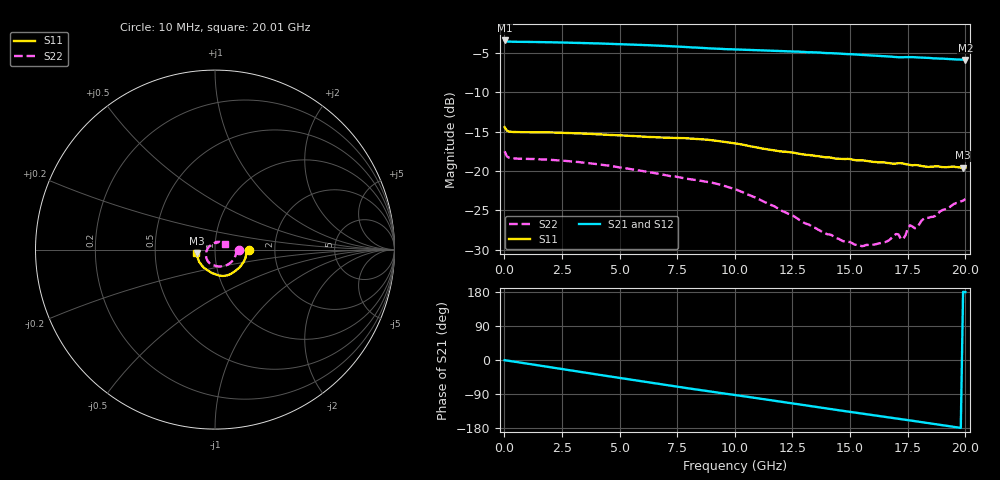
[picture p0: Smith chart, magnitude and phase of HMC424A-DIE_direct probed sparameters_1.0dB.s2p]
!s2p File: Measurements: S11, S21, S12, S22
# GHz S dB R 50.0
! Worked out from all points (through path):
!   201 points, 10 MHz to 20.01 GHz, reference 50 ohm
!   highest |S21| = -3.39 dB at 10 MHz (marker M1); lowest = -5.9 dB at 20.01 GHz (marker M2)
!   group delay of S21, straight-line fit = 24.9 ps
!   lowest |S11| = -19.6 dB at 19.91 GHz (marker M3), VSWR 1.23, Z = 40.7 - j1.65 ohm
!   |S11| at or under -10 dB: start of sweep to end of sweep
!   |S22| runs from -29.6 to -17.5 dB; largest |S21 - S12| = 0.0037
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0.01  -14.43 -1.4  -3.39 -0.4  -3.38 -0.4  -17.49 -1.9
0.11  -14.87 -2.4  -3.51 -1.5  -3.50 -1.5  -18.15 -3.8
0.31  -15.02 -3.1  -3.55 -3.2  -3.54 -3.2  -18.37 -5.0
1.81  -15.09 -13.0  -3.61 -17.4  -3.61 -17.4  -18.54 -21.6
3.41  -15.24 -24.4  -3.72 -32.5  -3.71 -32.5  -18.93 -40.4
5.01  -15.45 -36.0  -3.85 -47.4  -3.86 -47.4  -19.55 -58.9
6.71  -15.73 -48.2  -4.05 -63.2  -4.06 -63.2  -20.37 -77.9
8.31  -15.93 -61.0  -4.29 -77.7  -4.30 -77.7  -21.16 -96.4
10.01  -16.49 -77.2  -4.53 -92.4  -4.54 -92.4  -22.31 -120.9
11.61  -17.33 -90.7  -4.69 -106.5  -4.69 -106.5  -24.37 -146.7
13.41  -18.03 -105.6  -4.90 -122.7  -4.92 -122.6  -27.19 179.9
14.71  -18.47 -117.2  -5.11 -134.3  -5.10 -134.1  -28.94 148.8
15.51  -18.64 -124.4  -5.24 -141.4  -5.22 -141.2  -29.57 126.6
16.71  -19.00 -137.6  -5.43 -151.8  -5.43 -151.7  -28.79 96.7
17.01  -19.05 -139.8  -5.50 -154.2  -5.46 -154.2  -28.02 86.0
17.31  -19.05 -143.6  -5.53 -156.7  -5.51 -156.8  -28.65 81.0
17.61  -19.24 -146.6  -5.50 -159.2  -5.54 -159.4  -26.92 74.2
17.91  -19.26 -148.9  -5.54 -162.2  -5.58 -162.0  -27.21 67.3
18.21  -19.42 -152.5  -5.59 -164.9  -5.62 -164.7  -26.08 61.0
18.71  -19.40 -157.2  -5.67 -169.3  -5.67 -169.1  -25.71 51.2
19.91  -19.60 -169.0  -5.83 180.0  -5.84 -179.9  -23.78 32.6
20.01  -19.57 -169.8  -5.86 179.1  -5.85 179.3  -23.57 30.8
